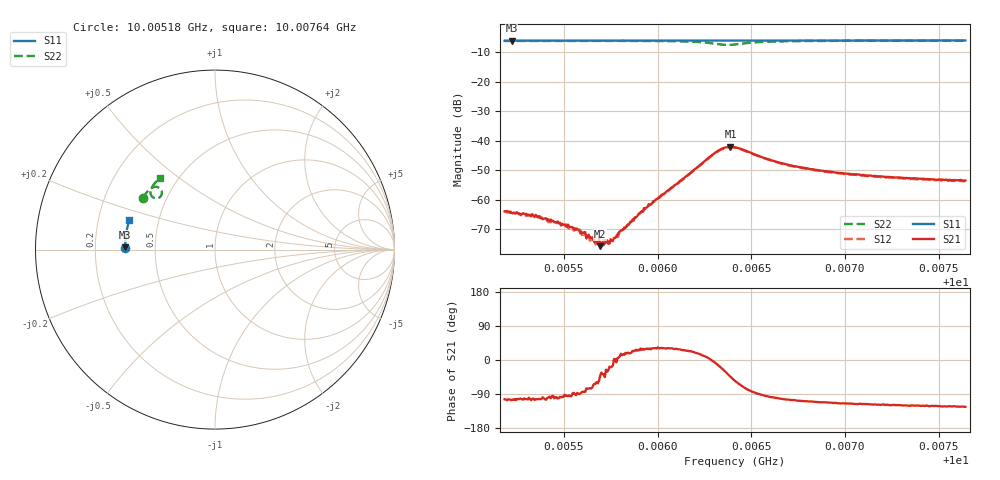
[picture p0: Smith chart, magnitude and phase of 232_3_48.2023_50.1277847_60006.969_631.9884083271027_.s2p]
#  HZ  S  RI  R  50.00
! Rohde & Schwarz Vector Network Analyzer
! Rohde-Schwarz,ZNB20-2Port,1311601062101988,3.16
! Created: UTC 3/20/2024, 11:46:30 AM
! freq[Hz]  re:S11  im:S11  re:S21  im:S21  re:S12  im:S12  re:S22  im:S22
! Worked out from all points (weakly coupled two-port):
!   401 points, 10.00518 GHz to 10.00764 GHz, reference 50 ohm
!   highest |S21| = -41.97 dB at 10.00639 GHz (marker M1); lowest = -75.7 dB at 10.00569 GHz (marker M2)
!   lowest |S11| = -6.0 dB at 10.00522 GHz (marker M3), VSWR 3.00, Z = 16.7 + j0.527 ohm
!   |S11| at or under -10 dB: nowhere
!   |S22| runs from -7.5 to -6.0 dB; largest |S21 - S12| = 0.00047
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1.0005184e10  -0.5001 0.00945  -0.000149 -0.00062  -0.000132 -0.000629  -0.4024 0.2887
1.0005221e10  -0.4999 0.0118  -0.00017 -0.000584  -0.000115 -0.000578  -0.401 0.291
1.0005362e10  -0.5 0.0212  -0.000115 -0.000494  -9.44e-05 -0.000492  -0.3953 0.2994
1.0005534e10  -0.4997 0.0325  -3.24e-05 -0.000341  7.93e-06 -0.000344  -0.3877 0.3097
1.0005596e10  -0.4996 0.0363  2.67e-05 -0.000281  2.97e-05 -0.000255  -0.3848 0.3134
1.0005645e10  -0.4994 0.0394  5.73e-05 -0.00022  0.000101 -0.000183  -0.3823 0.3166
1.0005669e10  -0.4993 0.0411  8.85e-05 -0.000174  7.97e-05 -0.000156  -0.3811 0.318
1.0005694e10  -0.4993 0.0426  0.000124 -0.000107  0.000109 -0.000143  -0.3798 0.3195
1.0005706e10  -0.4992 0.0435  0.000154 -0.000119  0.000124 -0.000109  -0.3792 0.3204
1.0005749e10  -0.499 0.0463  0.000203 -7.05e-05  0.000198 -3.27e-05  -0.3768 0.323
1.0005774e10  -0.4991 0.0479  0.000227 9.62e-06  0.000229 -6.48e-06  -0.3754 0.3245
1.0005811e10  -0.4988 0.0503  0.000302 6.86e-05  0.000294 7.97e-05  -0.3732 0.327
1.0005915e10  -0.4983 0.057  0.000575 0.00029  0.00054 0.000313  -0.3659 0.3339
1.0006007e10  -0.4977 0.063  0.000945 0.000565  0.000895 0.000604  -0.3582 0.3401
1.0006309e10  -0.495 0.0825  0.00628 -0.000855  0.00617 -0.00049  -0.2982 0.3293
1.0006346e10  -0.4944 0.0845  0.00681 -0.00293  0.00679 -0.00256  -0.2964 0.31
1.0006389e10  -0.4942 0.087  0.00572 -0.00554  0.00585 -0.00512  -0.3107 0.2899
1.0006413e10  -0.494 0.0884  0.00444 -0.00641  0.00467 -0.00603  -0.3236 0.2856
1.0006647e10  -0.4922 0.1034  -0.00084 -0.00421  -0.000604 -0.0042  -0.3588 0.3291
1.0006825e10  -0.4901 0.1147  -0.00109 -0.0031  -0.000997 -0.00309  -0.351 0.3489
1.0007237e10  -0.4842 0.1407  -0.00118 -0.00214  -0.00104 -0.00214  -0.3299 0.3761
1.0007643e10  -0.477 0.1658  -0.00118 -0.00177  -0.00104 -0.00179  -0.309 0.3963
